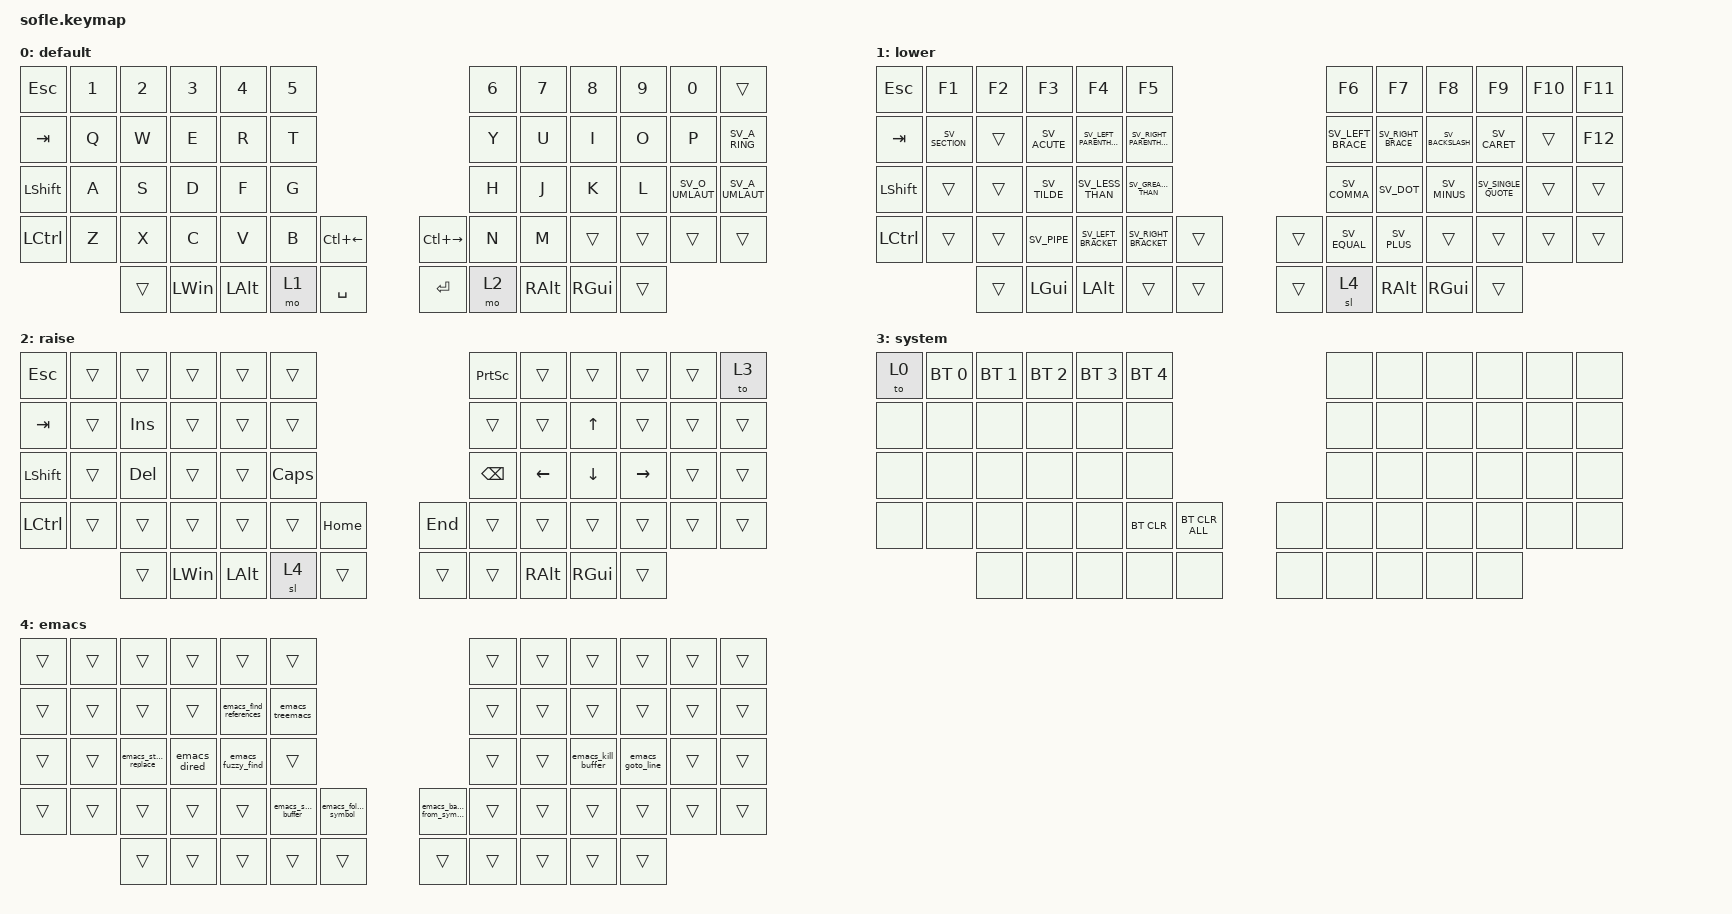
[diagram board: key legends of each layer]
/*
 * Copyright (c) 2020 The ZMK Contributors
 *
 * SPDX-License-Identifier: MIT
 */

#include <behaviors.dtsi>
#include <dt-bindings/zmk/bt.h>
#include <dt-bindings/zmk/keys.h>
#include "keys_se.h"
#include "keys_sv.h"

#define BASE 0
#define LOWER 1
#define RAISE 2
#define ADJUST 3
#define extra_layer 4

/ {
    // Activate ADJUST layer by pressing raise and lower

    conditional_layers { compatible = "zmk,conditional-layers"; };

    combos {
        compatible = "zmk,combos";

        emacs_one_shot {
            bindings = <&sl 4>;
            key-positions = <53 56>;
        };
    };

    behaviors {
        caps: caps {
            compatible = "zmk,behavior-caps-word";
            label = "CAPS";
            #binding-cells = <0>;
            continue-list = <POUND MINUS BACKSPACE UNDERSCORE>;
        };
    };

    macros {
        emacs_string_replace: emacs_replace {
            compatible = "zmk,behavior-macro";
            #binding-cells = <0>;
            bindings = <&kp LC(SV_X) &kp SV_R &kp SV_S>, <&macro_tap>;

            label = "EMACS_REPLACE";
        };

        emacs_fuzzy_find: emacs_fuzzy_find {
            compatible = "zmk,behavior-macro";
            #binding-cells = <0>;
            bindings = <&kp LC(SV_X) &kp SV_F>, <&macro_tap>;

            label = "EMACS_FUZZY_FIND";
        };

        emacs_dired: emacs_dired {
            compatible = "zmk,behavior-macro";
            #binding-cells = <0>;
            bindings = <&kp LC(SV_X) &kp LC(SV_F)>, <&macro_tap>;

            label = "EMACS_DIRED";
        };

        emacs_treemacs: emacs_treemacs {
            compatible = "zmk,behavior-macro";
            #binding-cells = <0>;
            bindings = <&kp LC(SV_X) &kp SV_T>, <&macro_tap>;

            label = "EMACS_TREEMACS";
        };

        emacs_follow_symbol: emacs_follow_symbol {
            compatible = "zmk,behavior-macro";
            #binding-cells = <0>;
            bindings = <&kp LC(SV_X) &kp SV_R &kp SV_R>, <&macro_press>;

            label = "EMACS_FOLLOW_SYMBOL";
        };

        emacs_backup_from_symbol: emacs_backup_from_symbol {
            compatible = "zmk,behavior-macro";
            #binding-cells = <0>;
            bindings = <&kp LC(SV_X) &kp SV_R &kp SV_H>, <&macro_tap>;

            label = "EMACS_BACKUP_FROM_SYMBOL";
        };

        emacs_find_references: emacs_find_references {
            compatible = "zmk,behavior-macro";
            #binding-cells = <0>;
            bindings = <&kp LC(SV_X) &kp SV_R &kp SV_F>, <&macro_tap>;

            label = "EMACS_FIND_REFERENCES";
        };

        emacs_goto_line: emacs_goto_line {
            compatible = "zmk,behavior-macro";
            #binding-cells = <0>;
            bindings = <&kp LC(SV_X) &kp SV_R &kp SV_L>, <&macro_tap>;

            label = "EMACS_GOTO_LINE";
        };

        emacs_switch_buffer: emacs_switch_buffer {
            compatible = "zmk,behavior-macro";
            #binding-cells = <0>;
            bindings = <&kp LC(SV_X) &kp SV_B>, <&macro_tap>;

            label = "EMACS_SWITCH_BUFFER";
        };

        emacs_kill_buffer: emacs_kill_buffer {
            compatible = "zmk,behavior-macro";
            #binding-cells = <0>;
            bindings = <&kp LC(SV_X) &kp SV_K>, <&macro_tap>;

            label = "EMACS_KILL_BUFFER";
        };
    };

    keymap {
        compatible = "zmk,keymap";

        Home {
            display-name = "default";

            // ------------------------------------------------------------------------------------------------------------
            // |   `   |  1  |  2  |  3   |  4   |  5   |                   |  6   |  7    |  8    |  9   |   0   |       |
            // |  ESC  |  Q  |  W  |  E   |  R   |  T   |                   |  Y   |  U    |  I    |  O   |   P   | BKSPC |
            // |  TAB  |  A  |  S  |  D   |  F   |  G   |                   |  H   |  J    |  K    |  L   |   ;   |   '   |
            // | SHIFT |  Z  |  X  |  C   |  V   |  B   |  MUTE  |  |       |  N   |  M    |  ,    |  .   |   /   | SHIFT |
            //               | GUI | ALT  | CTRL | LOWER|  ENTER |  | SPACE | RAISE| CTRL  | ALT   | GUI  |

            bindings = <
&kp ESCAPE        &kp N1  &kp N2  &kp N3        &kp N4        &kp N5                                             &kp N6  &kp N7    &kp N8    &kp N9  &kp N0           &trans
&kp TAB           &kp Q   &kp W   &kp E         &kp R         &kp T                                              &kp Y   &kp U     &kp I     &kp O   &kp P            &kp SV_A_RING
&kp LEFT_SHIFT    &kp A   &kp S   &kp D         &kp F         &kp G                                              &kp H   &kp J     &kp K     &kp L   &kp SV_O_UMLAUT  &kp SV_A_UMLAUT
&kp LEFT_CONTROL  &kp Z   &kp X   &kp C         &kp V         &kp B   &kp LC(LEFT_ARROW)    &kp LC(RIGHT_ARROW)  &kp N   &kp M     &trans    &trans  &trans           &trans
                          &trans  &kp LEFT_WIN  &kp LEFT_ALT  &mo 1   &kp SPACE             &kp ENTER            &mo 2   &kp RALT  &kp RGUI  &trans
            >;

            label = "home";
        };

        Lower {
            display-name = "lower";

            // TODO: Some binds are waiting for shifted keycode support.
            // ------------------------------------------------------------------------------------------------------------
            // |       |  F1 |  F2 |  F3  |  F4  |  F5  |                   |  F6  |  F7   |  F8   |  F9  |  F10  |  F11  |
            // |   `   |  1  |  2  |  3   |  4   |  5   |                   |  6   |  7    |  8    |  9   |   0   |  F12  |
            // |       |  !  |  @  |  #   |  $   |  %   |                   |  ^   |  &    |  *    |  (   |   )   |   |   |
            // |       |  =  |  -  |  +   |  {   |  }   |        |  |       |  [   |  ]    |  ;    |  :   |   \   |       |
            //               |     |      |      |      |        |  |       |      |       |       |      |

            bindings = <
&kp ESCAPE        &kp F1          &kp F2  &kp F3        &kp F4                   &kp F5                                      &kp F6             &kp F7              &kp F8            &kp F9               &kp F10  &kp F11
&kp TAB           &kp SV_SECTION  &trans  &kp SV_ACUTE  &kp SV_LEFT_PARENTHESIS  &kp SV_RIGHT_PARENTHESIS                    &kp SV_LEFT_BRACE  &kp SV_RIGHT_BRACE  &kp SV_BACKSLASH  &kp SV_CARET         &trans   &kp F12
&kp LEFT_SHIFT    &trans          &trans  &kp SV_TILDE  &kp SV_LESS_THAN         &kp SV_GREATER_THAN                         &kp SV_COMMA       &kp SV_DOT          &kp SV_MINUS      &kp SV_SINGLE_QUOTE  &trans   &trans
&kp LEFT_CONTROL  &trans          &trans  &kp SV_PIPE   &kp SV_LEFT_BRACKET      &kp SV_RIGHT_BRACKET      &trans    &trans  &kp SV_EQUAL       &kp SV_PLUS         &trans            &trans               &trans   &trans
                                  &trans  &kp LEFT_GUI  &kp LEFT_ALT             &trans                    &trans    &trans  &sl 4              &kp RIGHT_ALT       &kp RIGHT_GUI     &trans
            >;

            label = "Lower";
        };

        Raise {
            display-name = "raise";

            // ------------------------------------------------------------------------------------------------------------
            // | BTCLR | BT1  | BT2  |  BT3  |  BT4  |  BT5 |                |      |      |       |      |       |       |
            // |       | INS  | PSCR | GUI   |       |      |                | PGUP |      |   ^   |      |       |       |
            // |       | ALT  | CTRL | SHIFT |       | CAPS |                | PGDN |   <- |   v   |  ->  |  DEL  | BKSPC |
            // |       | UNDO | CUT  | COPY  | PASTE |      |      |  |      |      |      |       |      |       |       |
            //                |      |       |       |      |      |  |      |      |      |       |      |

            bindings = <
&kp ESCAPE        &trans  &trans      &trans        &trans        &trans                             &kp PRINTSCREEN  &trans         &trans         &trans     &trans  &to 3
&kp TAB           &trans  &kp INSERT  &trans        &trans        &trans                             &trans           &trans         &kp UP         &trans     &trans  &trans
&kp LEFT_SHIFT    &trans  &kp DELETE  &trans        &trans        &kp CAPSLOCK                       &kp BACKSPACE    &kp LEFT       &kp DOWN       &kp RIGHT  &trans  &trans
&kp LEFT_CONTROL  &trans  &trans      &trans        &trans        &trans        &kp HOME    &kp END  &trans           &trans         &trans         &trans     &trans  &trans
                          &trans      &kp LEFT_WIN  &kp LEFT_ALT  &sl 4         &trans      &trans   &trans           &kp RIGHT_ALT  &kp RIGHT_GUI  &trans
            >;

            label = "Raise";
        };

        System {
            // ----------------------------------------------------------------------------------------------------------------------------
            // | BTCLR  |  BT1    |  BT2    |   BT3   |   BT4   |   BT5   |                  |      |      |       |      |       |       |
            // | EXTPWR | RGB_HUD | RGB_HUI | RGB_SAD | RGB_SAI | RGB_EFF |                  |      |      |       |      |       |       |
            // |        | RGB_BRD | RGB_BRI |         |         |         |                  |      |      |       |      |       |       |
            // |        |         |         |         |         |         | RGB_TOG | |      |      |      |       |      |       |       |
            //                    |         |         |         |         |         | |      |      |      |       |      |

            display-name = "system";
            bindings = <
&to 0  &bt BT_SEL 0  &bt BT_SEL 1  &bt BT_SEL 2  &bt BT_SEL 3  &bt BT_SEL 4                           &none  &none  &none  &none  &none  &none
&none  &none         &none         &none         &none         &none                                  &none  &none  &none  &none  &none  &none
&none  &none         &none         &none         &none         &none                                  &none  &none  &none  &none  &none  &none
&none  &none         &none         &none         &none         &bt BT_CLR    &bt BT_CLR_ALL    &none  &none  &none  &none  &none  &none  &none
                     &none         &none         &none         &none         &none             &none  &none  &none  &none  &none
            >;

            label = "system";
        };

        emacs {
            bindings = <
&trans  &trans  &trans                 &trans        &trans                  &trans                                                                   &trans  &trans  &trans              &trans            &trans  &trans
&trans  &trans  &trans                 &trans        &emacs_find_references  &emacs_treemacs                                                          &trans  &trans  &trans              &trans            &trans  &trans
&trans  &trans  &emacs_string_replace  &emacs_dired  &emacs_fuzzy_find       &trans                                                                   &trans  &trans  &emacs_kill_buffer  &emacs_goto_line  &trans  &trans
&trans  &trans  &trans                 &trans        &trans                  &emacs_switch_buffer  &emacs_follow_symbol    &emacs_backup_from_symbol  &trans  &trans  &trans              &trans            &trans  &trans
                &trans                 &trans        &trans                  &trans                &trans                  &trans                     &trans  &trans  &trans              &trans
            >;

            label = "emacs";
        };
    };
};
